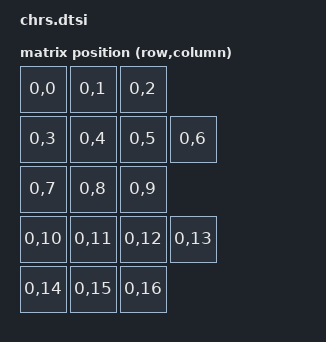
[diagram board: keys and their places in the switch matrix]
#include "chrs-layouts.dtsi"
#include <dt-bindings/zmk/matrix_transform.h>

/ {
    matrix_transform0: matrix_transform0 {
        compatible = "zmk,matrix-transform";
        columns = <17>;
        rows = <1>;
        map = <
            RC(0,0) RC(0,1) RC(0,2)
            RC(0,3) RC(0,4) RC(0,5) RC(0,6)
            RC(0,7) RC(0,8) RC(0,9)
            RC(0,10) RC(0,11) RC(0,12) RC(0,13)
            RC(0,14) RC(0,15) RC(0,16)
        >;
    };
};

&physical_layout_chrs {
    transform = <&matrix_transform0>;
};

// Encoders for all parts of the keyboard.
// If the encoder(s) are not behaving as expected,
// update steps and triggers-per-rotation to match your hardware.
// All pin assignments are done in the part overlays.

/ {
    encoder0: encoder0 {
        compatible = "alps,ec11";
        steps = <80>;
        status = "disabled";
    };

    sensors: sensors {
        compatible = "zmk,keymap-sensors";
        sensors = <&encoder0>;
        triggers-per-rotation = <20>;
    };
};

